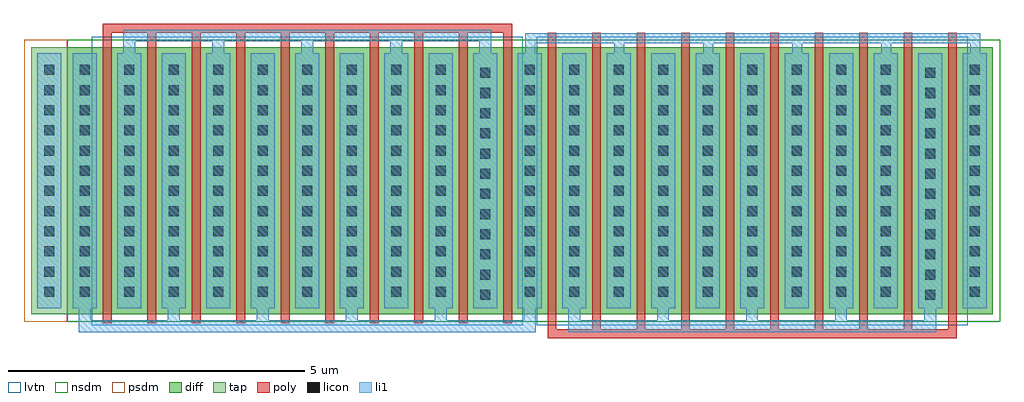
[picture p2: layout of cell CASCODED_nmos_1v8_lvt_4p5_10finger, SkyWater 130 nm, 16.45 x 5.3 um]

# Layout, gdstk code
import gdstk
lib = gdstk.Library(unit=1e-6, precision=5e-09)
def R(c, l, rs):  # rectangles x0, y0, x1, y1
    for r in rs: c.add(gdstk.rectangle(r[:2], r[2:], *l))
def A(c, l, x, y, w, h, nx, ny, dx, dy):  # array of equal rectangles
    R(c, l, [(x+i*dx, y+j*dy, x+i*dx+w, y+j*dy+h) for i in range(nx) for j in range(ny)])
def P(c, l, *ps):  # polygons
    for p in ps: c.add(gdstk.Polygon(p, *l))
diff = (65, 20)
tap = (65, 44)
poly = (66, 20)
licon = (66, 44)
li1 = (67, 20)
nsdm = (93, 44)
psdm = (94, 20)
lvtn = (125, 44)

nmos_1v8_lvt_4p5_10finge = lib.new_cell('nmos_1v8_lvt_4p5_10finger$2')
R(nmos_1v8_lvt_4p5_10finge, diff, [(0.4,0.15,8.5,4.65)])
R(nmos_1v8_lvt_4p5_10finge, tap, [(-0.2,0.15,0.4,4.65)])
A(nmos_1v8_lvt_4p5_10finge, poly, 1, 0, 0.15, 4.9, 10, 1, 0.75, 0)
R(nmos_1v8_lvt_4p5_10finge, poly, [(1,4.9,7.9,5.05)])
A(nmos_1v8_lvt_4p5_10finge, licon, 7.365, 0.395, 0.17, 0.17, 1, 12, 0, 0.34)
A(nmos_1v8_lvt_4p5_10finge, licon, 0.015, 0.445, 0.17, 0.17, 1, 12, 0, 0.34)
A(nmos_1v8_lvt_4p5_10finge, licon, 0.615, 0.445, 0.17, 0.17, 9, 12, 0.75, 0.34)
A(nmos_1v8_lvt_4p5_10finge, licon, 8.115, 0.445, 0.17, 0.17, 1, 12, 0, 0.34)
A(nmos_1v8_lvt_4p5_10finge, li1, 0.6, 0.05, 0.2, 0.2, 6, 1, 1.5, 0)
A(nmos_1v8_lvt_4p5_10finge, li1, 0.5, 0.25, 0.4, 4.3, 11, 1, 0.75, 0)
A(nmos_1v8_lvt_4p5_10finge, li1, 1.35, 4.55, 0.2, 0.2, 5, 1, 1.5, 0)
R(nmos_1v8_lvt_4p5_10finge, li1, [(0.6,-0.15,8.3,0.05), (-0.1,0.25,0.3,4.55), (1.35,4.75,7.55,4.95)])
R(nmos_1v8_lvt_4p5_10finge, nsdm, [(0.4,0.025,8.625,4.775)])
R(nmos_1v8_lvt_4p5_10finge, psdm, [(-0.325,0.025,0.4,4.775)])
R(nmos_1v8_lvt_4p5_10finge, lvtn, [(0.82,-0.03,8.08,4.83)])

c_nmos_1v8_lvt_4p5_10finge = lib.new_cell('nmos_1v8_lvt_4p5_10finger$1$1')
R(c_nmos_1v8_lvt_4p5_10finge, diff, [(0.4,0.15,8.5,4.65)])
A(c_nmos_1v8_lvt_4p5_10finge, poly, 1, 0, 0.15, 4.9, 10, 1, 0.75, 0)
A(c_nmos_1v8_lvt_4p5_10finge, licon, 7.365, 0.395, 0.17, 0.17, 1, 12, 0, 0.34)
A(c_nmos_1v8_lvt_4p5_10finge, licon, 0.615, 0.445, 0.17, 0.17, 9, 12, 0.75, 0.34)
A(c_nmos_1v8_lvt_4p5_10finge, licon, 8.115, 0.445, 0.17, 0.17, 1, 12, 0, 0.34)
A(c_nmos_1v8_lvt_4p5_10finge, li1, 0.5, 0.25, 0.4, 4.3, 11, 1, 0.75, 0)
R(c_nmos_1v8_lvt_4p5_10finge, nsdm, [(0.275,0.025,8.625,4.775)])
R(c_nmos_1v8_lvt_4p5_10finge, lvtn, [(0.82,-0.03,8.08,4.83)])

cascoded_nmos_1v8_lvt_4p = lib.new_cell('CASCODED_nmos_1v8_lvt_4p5_10finger')
P(cascoded_nmos_1v8_lvt_4p, poly, [(-9.12,1.045),(-9.12,1.3),(-8.97,1.3),(-8.97,1.195),(-8.37,1.195),(-8.37,1.3),(-8.22,1.3),(-8.22,1.195),(-7.62,1.195),(-7.62,1.3),(-7.47,1.3),(-7.47,1.195),(-6.87,1.195),(-6.87,1.3),(-6.72,1.3),(-6.72,1.195),(-6.12,1.195),(-6.12,1.3),(-5.97,1.3),(-5.97,1.195),(-5.37,1.195),(-5.37,1.3),(-5.22,1.3),(-5.22,1.195),(-4.62,1.195),(-4.62,1.3),(-4.47,1.3),(-4.47,1.195),(-3.87,1.195),(-3.87,1.3),(-3.72,1.3),(-3.72,1.195),(-3.12,1.195),(-3.12,1.3),(-2.97,1.3),(-2.97,1.195),(-2.37,1.195),(-2.37,1.3),(-2.22,1.3),(-2.22,1.045)])
P(cascoded_nmos_1v8_lvt_4p, li1, [(-9.5,5.85),(-9.5,6.19),(-1.83,6.19),(-1.83,5.85),(-2,5.85),(-2,6.02),(-3.33,6.02),(-3.33,5.85),(-3.5,5.85),(-3.5,6.02),(-4.825,6.02),(-4.825,5.85),(-4.995,5.85),(-4.995,6.02),(-6.33,6.02),(-6.33,5.85),(-6.5,5.85),(-6.5,6.02),(-7.825,6.02),(-7.825,5.85),(-7.995,5.85),(-7.995,6.02),(-9.33,6.02),(-9.33,5.85)],
  [(-8.77,1.15),(-8.77,1.55),(-8.57,1.55),(-8.57,1.35),(-7.275,1.35),(-7.275,1.55),(-7.075,1.55),(-7.075,1.35),(-5.775,1.35),(-5.775,1.55),(-5.575,1.55),(-5.575,1.35),(-4.275,1.35),(-4.275,1.55),(-4.075,1.55),(-4.075,1.35),(-2.77,1.35),(-2.77,1.55),(-2.57,1.55),(-2.57,1.15)])
cascoded_nmos_1v8_lvt_4p.add(gdstk.Reference(nmos_1v8_lvt_4p5_10finge, (-17.62,1.3)))
cascoded_nmos_1v8_lvt_4p.add(gdstk.Reference(c_nmos_1v8_lvt_4p5_10finge, (-10.12,1.3)))

lib.write_gds('CASCODED_nmos_1v8_lvt_4p5_10finger.gds')
